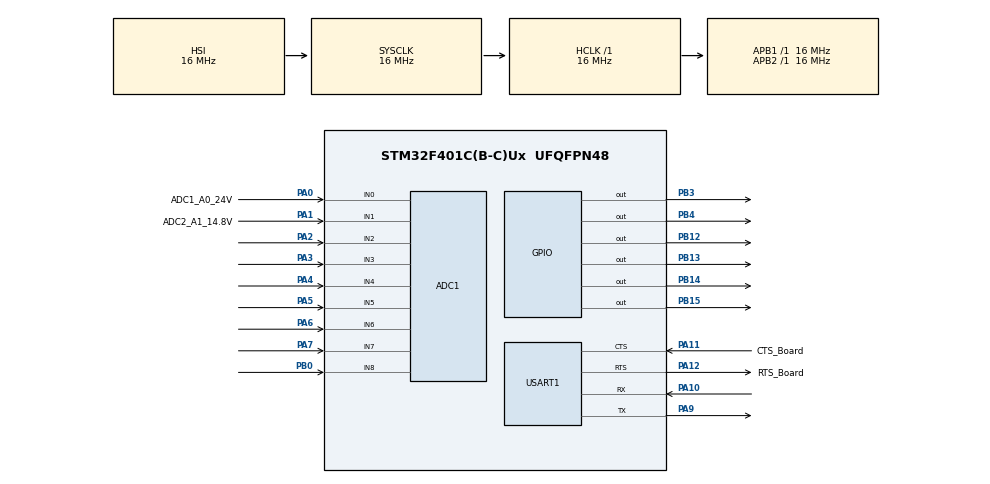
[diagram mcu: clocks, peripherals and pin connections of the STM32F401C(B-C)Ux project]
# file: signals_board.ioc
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ADC1.Channel-0\#ChannelRegularConversion=ADC_CHANNEL_0
ADC1.ContinuousConvMode=ENABLE
ADC1.DMAContinuousRequests=ENABLE
ADC1.NbrOfConversionFlag=1
ADC1.Rank-0\#ChannelRegularConversion=1
ADC1.SamplingTime-0\#ChannelRegularConversion=ADC_SAMPLETIME_3CYCLES
ADC1.ScanConvMode=ENABLE
ADC1.master=1
Dma.ADC1.0.Direction=DMA_PERIPH_TO_MEMORY
Dma.ADC1.0.FIFOMode=DMA_FIFOMODE_DISABLE
Dma.ADC1.0.Instance=DMA2_Stream0
Dma.ADC1.0.MemDataAlignment=DMA_MDATAALIGN_HALFWORD
Dma.ADC1.0.MemInc=DMA_MINC_ENABLE
Dma.ADC1.0.Mode=DMA_CIRCULAR
Dma.ADC1.0.PeriphDataAlignment=DMA_PDATAALIGN_HALFWORD
Dma.ADC1.0.PeriphInc=DMA_PINC_DISABLE
Dma.ADC1.0.Priority=DMA_PRIORITY_LOW
Dma.Request0=ADC1
Mcu.Family=STM32F4
Mcu.Name=STM32F401C(B-C)Ux
Mcu.Package=UFQFPN48
NVIC.DMA2_Stream0_IRQn=true\:0\:0\:false\:false\:true\:false\:true\:true
NVIC.PriorityGroup=NVIC_PRIORITYGROUP_4
NVIC.TIM3_IRQn=true\:0\:0\:false\:false\:true\:true\:true\:true
PA0-WKUP.GPIO_Label=ADC1_A0_24V
PA0-WKUP.Signal=ADCx_IN0
PA1.GPIO_Label=ADC2_A1_14.8V
PA1.Signal=ADCx_IN1
PA10.Mode=Asynchronous
PA10.Signal=USART1_RX
PA11.GPIO_Label=CTS_Board
PA11.Mode=CTS_RTS
PA11.Signal=USART1_CTS
PA12.GPIO_Label=RTS_Board
PA12.Mode=CTS_RTS
PA12.Signal=USART1_RTS
PA2.Signal=ADCx_IN2
PA3.Signal=ADCx_IN3
PA4.Signal=ADCx_IN4
PA5.Signal=ADCx_IN5
PA6.Signal=ADCx_IN6
PA7.Signal=ADCx_IN7
PA9.Mode=Asynchronous
PA9.Signal=USART1_TX
PB0.Signal=ADCx_IN8
PB12.Signal=GPIO_Output
PB13.Signal=GPIO_Output
PB14.Signal=GPIO_Output
PB15.Signal=GPIO_Output
PB3.Signal=GPIO_Output
PB4.Signal=GPIO_Output
ProjectManager.HeapSize=0x200
ProjectManager.StackSize=0x400
ProjectManager.TargetToolchain=CMake
RCC.AHBFreq_Value=16000000
RCC.APB1Freq_Value=16000000
RCC.APB2Freq_Value=16000000
RCC.CortexFreq_Value=16000000
RCC.HSE_VALUE=25000000
RCC.HSI_VALUE=16000000
RCC.LSE_VALUE=32768
RCC.SYSCLKFreq_VALUE=16000000
RCC.VCOOutputFreq_Value=192000000
SH.ADCx_IN0.0=ADC1_IN0,IN0
SH.ADCx_IN1.0=ADC1_IN1,IN1
SH.ADCx_IN2.0=ADC1_IN2,IN2
SH.ADCx_IN3.0=ADC1_IN3,IN3
SH.ADCx_IN4.0=ADC1_IN4,IN4
SH.ADCx_IN5.0=ADC1_IN5,IN5
SH.ADCx_IN6.0=ADC1_IN6,IN6
SH.ADCx_IN7.0=ADC1_IN7,IN7
SH.ADCx_IN8.0=ADC1_IN8,IN8
TIM3.AutoReloadPreload=TIM_AUTORELOAD_PRELOAD_ENABLE
TIM3.Period=9999
TIM3.Prescaler=15
USART1.VirtualMode=VM_ASYNC
VP_CRC_VS_CRC.Mode=CRC_Activate
VP_TIM3_VS_ClockSourceINT.Mode=Internal
board=custom

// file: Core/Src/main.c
/* USER CODE BEGIN Header */
/**
  ******************************************************************************
  * @file           : main.c
  * @brief          : Main program body
  ******************************************************************************
  * @attention
  *
  * Copyright (c) 2026 STMicroelectronics.
  * All rights reserved.
  *
  * This software is licensed under terms that can be found in the LICENSE file
  * in the root directory of this software component.
  * If no LICENSE file comes with this software, it is provided AS-IS.
  *
  ******************************************************************************
  */
/* USER CODE END Header */
#include "main.h"

ADC_HandleTypeDef hadc1;
DMA_HandleTypeDef hdma_adc1;

CRC_HandleTypeDef hcrc;

TIM_HandleTypeDef htim3;

UART_HandleTypeDef huart1;

/* USER CODE BEGIN PV */
uint16_t raw_adc[9];
uint16_t tx_payload[2][22];
uint8_t active_buf = 0;
uint8_t UART_ready = 1;

/* USER CODE END PV */

void SystemClock_Config(void);
static void MX_GPIO_Init(void);
static void MX_DMA_Init(void);
static void MX_ADC1_Init(void);
static void MX_TIM3_Init(void);
static void MX_USART1_UART_Init(void);
static void MX_CRC_Init(void);

/* USER CODE BEGIN 0 */
volatile uint8_t flag_10ms;  //called in stm32f4xx_it.c
/* USER CODE END 0 */

int main(void)
{

  /* MCU Configuration--------------------------------------------------------*/

  /* Reset of all peripherals, Initializes the Flash interface and the Systick. */
  HAL_Init();

  /* Configure the system clock */
  SystemClock_Config();

  /* Initialize all configured peripherals */
  MX_GPIO_Init();
  MX_DMA_Init();
  MX_ADC1_Init();
  MX_TIM3_Init();
  MX_USART1_UART_Init();
  MX_CRC_Init();
  /* USER CODE BEGIN 2 */
  HAL_TIM_Base_Start_IT(&htim3);

  HAL_ADC_Start_DMA(&hadc1, (uint32_t*)raw_adc, 9);
  //Uses DMA controller to speed up memory send and make it faster
  /* USER CODE END 2 */

  /* Infinite loop */
  /* USER CODE BEGIN WHILE */
  while (1)
  {
    if(flag_10ms == 1){

      flag_10ms = 0;

      if(UART_ready){
      uint32_t *pbuf32 = (uint32_t*)tx_payload[active_buf];
      uint8_t *pbuf8 = (uint8_t*)tx_payload[active_buf];

      pbuf8[0] = 0xAA;
      pbuf8[1] = 18;
      for(uint16_t channel = 0; channel < 9; channel++){
        uint16_t tagged_val = (channel << 12) | (raw_adc[channel] & 0x0FFF);
        pbuf8[2 * (channel * 2)] = (uint8_t)(tagged_val & 0xFF);
        pbuf8[3 + (channel*2)] = (uint8_t)(tagged_val >> 8);
      }

      __HAL_CRC_DR_RESET(&hcrc);
            uint32_t final_crc = HAL_CRC_Calculate(&hcrc, pbuf32, 5);
      pbuf32[5] = final_crc;
      UART_ready = 0;

      HAL_UART_Transmit_DMA(&huart1, (uint8_t*) tx_payload, sizeof(tx_payload));
      active_buf = !active_buf;
      }
    }
    /* USER CODE END WHILE */

  }
}

void SystemClock_Config(void)
{
  RCC_OscInitTypeDef RCC_OscInitStruct = {0};
  RCC_ClkInitTypeDef RCC_ClkInitStruct = {0};

  /** Configure the main internal regulator output voltage
  */
  __HAL_RCC_PWR_CLK_ENABLE();
  __HAL_PWR_VOLTAGESCALING_CONFIG(PWR_REGULATOR_VOLTAGE_SCALE2);

  /** Initializes the RCC Oscillators according to the specified parameters
  * in the RCC_OscInitTypeDef structure.
  */
  RCC_OscInitStruct.OscillatorType = RCC_OSCILLATORTYPE_HSI;
  RCC_OscInitStruct.HSIState = RCC_HSI_ON;
  RCC_OscInitStruct.HSICalibrationValue = RCC_HSICALIBRATION_DEFAULT;
  RCC_OscInitStruct.PLL.PLLState = RCC_PLL_NONE;
  if (HAL_RCC_OscConfig(&RCC_OscInitStruct) != HAL_OK)
  {
    Error_Handler();
  }

  /** Initializes the CPU, AHB and APB buses clocks
  */
  RCC_ClkInitStruct.ClockType = RCC_CLOCKTYPE_HCLK|RCC_CLOCKTYPE_SYSCLK
                              |RCC_CLOCKTYPE_PCLK1|RCC_CLOCKTYPE_PCLK2;
  RCC_ClkInitStruct.SYSCLKSource = RCC_SYSCLKSOURCE_HSI;
  RCC_ClkInitStruct.AHBCLKDivider = RCC_SYSCLK_DIV1;
  RCC_ClkInitStruct.APB1CLKDivider = RCC_HCLK_DIV1;
  RCC_ClkInitStruct.APB2CLKDivider = RCC_HCLK_DIV1;

  if (HAL_RCC_ClockConfig(&RCC_ClkInitStruct, FLASH_LATENCY_0) != HAL_OK)
  {
    Error_Handler();
  }
}

static void MX_ADC1_Init(void)
{

  ADC_ChannelConfTypeDef sConfig = {0};

  /** Configure the global features of the ADC (Clock, Resolution, Data Alignment and number of conversion)
  */
  hadc1.Instance = ADC1;
  hadc1.Init.ClockPrescaler = ADC_CLOCK_SYNC_PCLK_DIV2;
  hadc1.Init.Resolution = ADC_RESOLUTION_12B;
  hadc1.Init.ScanConvMode = ENABLE;
  hadc1.Init.ContinuousConvMode = ENABLE;
  hadc1.Init.DiscontinuousConvMode = DISABLE;
  hadc1.Init.ExternalTrigConvEdge = ADC_EXTERNALTRIGCONVEDGE_NONE;
  hadc1.Init.ExternalTrigConv = ADC_SOFTWARE_START;
  hadc1.Init.DataAlign = ADC_DATAALIGN_RIGHT;
  hadc1.Init.NbrOfConversion = 1;
  hadc1.Init.DMAContinuousRequests = ENABLE;
  hadc1.Init.EOCSelection = ADC_EOC_SINGLE_CONV;
  if (HAL_ADC_Init(&hadc1) != HAL_OK)
  {
    Error_Handler();
  }

  /** Configure for the selected ADC regular channel its corresponding rank in the sequencer and its sample time.
  */
  sConfig.Channel = ADC_CHANNEL_0;
  sConfig.Rank = 1;
  sConfig.SamplingTime = ADC_SAMPLETIME_3CYCLES;
  if (HAL_ADC_ConfigChannel(&hadc1, &sConfig) != HAL_OK)
  {
    Error_Handler();
  }

}

static void MX_CRC_Init(void)
{

  hcrc.Instance = CRC;
  if (HAL_CRC_Init(&hcrc) != HAL_OK)
  {
    Error_Handler();
  }

}

static void MX_TIM3_Init(void)
{

  TIM_ClockConfigTypeDef sClockSourceConfig = {0};
  TIM_MasterConfigTypeDef sMasterConfig = {0};

  htim3.Instance = TIM3;
  htim3.Init.Prescaler = 15;
  htim3.Init.CounterMode = TIM_COUNTERMODE_UP;
  htim3.Init.Period = 9999;
  htim3.Init.ClockDivision = TIM_CLOCKDIVISION_DIV1;
  htim3.Init.AutoReloadPreload = TIM_AUTORELOAD_PRELOAD_ENABLE;
  if (HAL_TIM_Base_Init(&htim3) != HAL_OK)
  {
    Error_Handler();
  }
  sClockSourceConfig.ClockSource = TIM_CLOCKSOURCE_INTERNAL;
  if (HAL_TIM_ConfigClockSource(&htim3, &sClockSourceConfig) != HAL_OK)
  {
    Error_Handler();
  }
  sMasterConfig.MasterOutputTrigger = TIM_TRGO_RESET;
  sMasterConfig.MasterSlaveMode = TIM_MASTERSLAVEMODE_DISABLE;
  if (HAL_TIMEx_MasterConfigSynchronization(&htim3, &sMasterConfig) != HAL_OK)
  {
    Error_Handler();
  }

}

static void MX_USART1_UART_Init(void)
{

  huart1.Instance = USART1;
  huart1.Init.BaudRate = 115200;
  huart1.Init.WordLength = UART_WORDLENGTH_8B;
  huart1.Init.StopBits = UART_STOPBITS_1;
  huart1.Init.Parity = UART_PARITY_NONE;
  huart1.Init.Mode = UART_MODE_TX_RX;
  huart1.Init.HwFlowCtl = UART_HWCONTROL_RTS_CTS;
  huart1.Init.OverSampling = UART_OVERSAMPLING_16;
  if (HAL_UART_Init(&huart1) != HAL_OK)
  {
    Error_Handler();
  }

}

static void MX_DMA_Init(void)
{

  /* DMA controller clock enable */
  __HAL_RCC_DMA2_CLK_ENABLE();

  /* DMA interrupt init */
  /* DMA2_Stream0_IRQn interrupt configuration */
  HAL_NVIC_SetPriority(DMA2_Stream0_IRQn, 0, 0);
  HAL_NVIC_EnableIRQ(DMA2_Stream0_IRQn);

}

static void MX_GPIO_Init(void)
{
  GPIO_InitTypeDef GPIO_InitStruct = {0};

  /* GPIO Ports Clock Enable */
  __HAL_RCC_GPIOA_CLK_ENABLE();
  __HAL_RCC_GPIOB_CLK_ENABLE();

  /*Configure GPIO pin Output Level */
  HAL_GPIO_WritePin(GPIOB, GPIO_PIN_12|GPIO_PIN_13|GPIO_PIN_14|GPIO_PIN_15
                          |GPIO_PIN_3|GPIO_PIN_4, GPIO_PIN_RESET);

  /*Configure GPIO pins : PB12 PB13 PB14 PB15
                           PB3 PB4 */
  GPIO_InitStruct.Pin = GPIO_PIN_12|GPIO_PIN_13|GPIO_PIN_14|GPIO_PIN_15
                          |GPIO_PIN_3|GPIO_PIN_4;
  GPIO_InitStruct.Mode = GPIO_MODE_OUTPUT_PP;
  GPIO_InitStruct.Pull = GPIO_NOPULL;
  GPIO_InitStruct.Speed = GPIO_SPEED_FREQ_LOW;
  HAL_GPIO_Init(GPIOB, &GPIO_InitStruct);

}

/* USER CODE BEGIN 4 */
void HAL_TIM_PeriodElapsedCallback(TIM_HandleTypeDef *htim)
{
    // Check which timer triggered the interrupt (in case you use multiple timers later)
    if (htim->Instance == TIM3)
    {
        // Set the flag for the main loop!
        flag_10ms = 1;
    }
}

void HAL_UART_TxCpltCallback(UART_HandleTypeDef *huart)
{
    if(huart->Instance == USART1)
    {
        UART_ready = 1; // Unlock the UART for the next 10ms cycle
    }
}

/* USER CODE END 4 */

void Error_Handler(void)
{
  __disable_irq();
  while (1)
  {
  }
}
